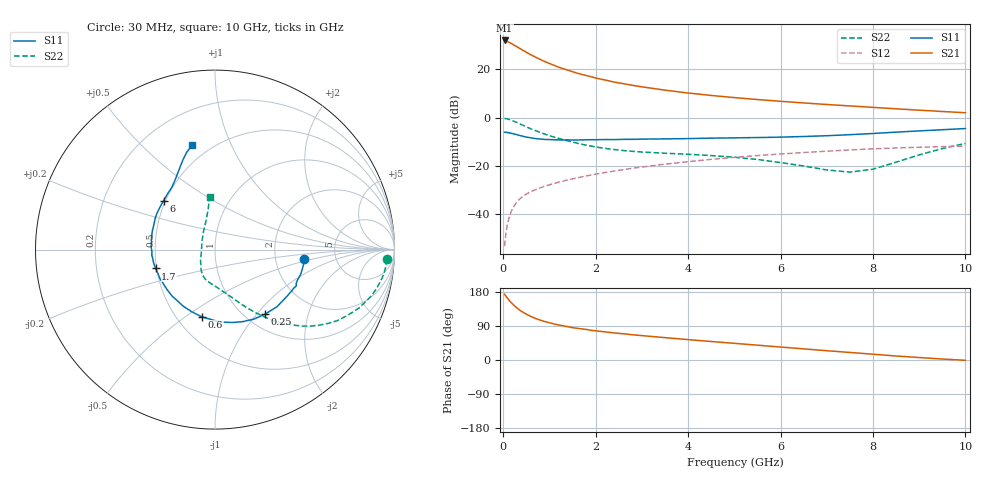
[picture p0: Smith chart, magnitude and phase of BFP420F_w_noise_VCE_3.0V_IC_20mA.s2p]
! (c) 2011  Infineon Technologies AG, Munich
! Infineon Technologies  Discrete & RF Semiconductors
! BFP420F
! VCE =  3.0 V,  IC =  20 mA
! Common Emitter S-Parameters:  Sep 2011
# GHz  S  MA  R  50
!  f  S11  S21  S12  S22
! GHz  MAG  ANG  MAG  ANG  MAG  ANG  MAG  ANG
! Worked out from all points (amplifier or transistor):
!   54 points, 30 MHz to 10 GHz, reference 50 ohm
!   highest |S21| = 31.9 dB at 30 MHz (marker M1)
!   |S21| within 3 dB of that: start of sweep to 332.8 MHz
!   unconditionally stable (mu >= 1): 1.675 GHz to end of sweep
!   at 120 MHz: K = 0.27, MSG = 36.5 dB, |S12| = -41.7 dB
!   at 1.3 GHz: K = 0.90, MSG = 23.2 dB, |S12| = -26.2 dB
!   at 10 GHz: K = 1.24, MAG = 3.9 dB, |S12| = -11.7 dB
!   lowest NFmin = 1.53 dB at 450 MHz
!   S11 on the Smith chart (normalised r, x): 30 MHz: 2.93, -0.42; 250 MHz: 1.22, -1.11; 600 MHz: 0.66, -0.58; 1.7 GHz: 0.49, -0.12; 6 GHz: 0.49, +0.32; 10 GHz: 0.40, +0.72
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0.03  0.5004 -6.2  39.5 173.6  0.0022 85.4  0.9576 -3.2
0.05  0.4995 -10.6  38.77 169.7  0.0034 84.7  0.9558 -5.8
0.07  0.4973 -15.5  38.46 166.8  0.0048 81.3  0.9491 -8.3
0.12  0.4875 -26.5  36.59 158.5  0.0082 79.5  0.9231 -14.0
0.15  0.4787 -32.6  35.19 154.4  0.01 78.5  0.9028 -17.2
0.2  0.4697 -42.7  33.13 148.1  0.0131 74.8  0.8666 -22.0
0.25  0.4552 -52.1  31.01 142.2  0.0156 72.7  0.8261 -26.2
0.3  0.4437 -60.9  29.22 137.0  0.0183 70.5  0.7889 -30.1
0.4  0.4183 -76.1  25.56 128.1  0.0225 67.1  0.7131 -36.3
0.5  0.3973 -89.3  22.51 121.0  0.0263 64.9  0.6457 -41.3
0.6  0.3819 -100.9  19.91 114.8  0.0294 63.4  0.586 -45.4
0.8  0.3618 -119.1  16 105.1  0.0354 61.9  0.4945 -51.8
1  0.3524 -132.6  13.19 98.2  0.0409 61.5  0.4249 -56.7
1.3  0.3447 -148.0  10.27 90.1  0.049 61.1  0.3505 -62.9
1.7  0.3469 -162.4  7.838 82.1  0.0597 60.7  0.2819 -70.6
2.4  0.352 -178.8  5.455 71.5  0.0788 59.2  0.2195 -84.2
3.5  0.3639 163.7  3.704 59.0  0.1092 55.2  0.1837 -101.2
5.5  0.3879 141.9  2.37 39.1  0.1643 44.2  0.1366 -124.4
6  0.3954 136.4  2.18 34.2  0.1776 41.1  0.1177 -131.7
7  0.4229 124.6  1.872 24.5  0.2024 34.7  0.0829 -159.1
8.5  0.5017 112.7  1.525 10.6  0.2363 24.1  0.12 122.3
10  0.5951 102.5  1.264 -0.8  0.2593 14.9  0.2934 95.9
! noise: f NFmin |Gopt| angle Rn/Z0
0.45  1.53  0.18  -179  0.15
0.9  1.54  0.18  -179  0.17
1.9  1.66  0.26  -170  0.15
2.4  1.72  0.27  -165  0.11
3.5  1.96  0.29  -155  0.15
